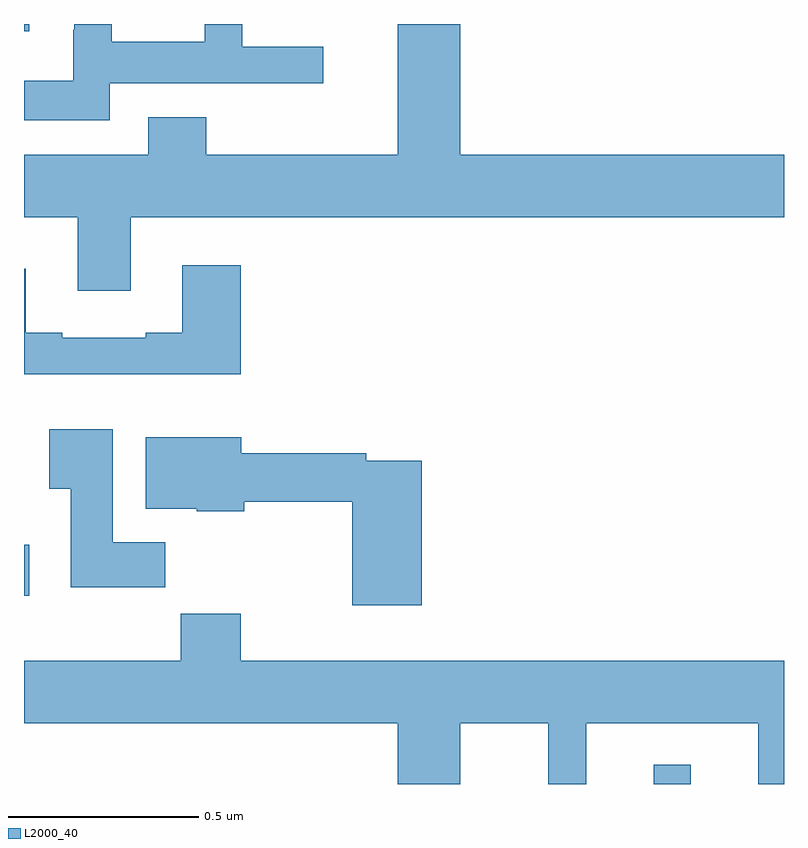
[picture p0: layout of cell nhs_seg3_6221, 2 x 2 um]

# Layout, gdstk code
import gdstk
lib = gdstk.Library(unit=1e-6, precision=1e-09)
def R(c, l, rs):  # rectangles x0, y0, x1, y1
    for r in rs: c.add(gdstk.rectangle(r[:2], r[2:], *l))
def P(c, l, *ps):  # polygons
    for p in ps: c.add(gdstk.Polygon(p, *l))
L2000_40 = (2000, 40)

nhs_seg3_6221 = lib.new_cell('nhs_seg3_6221')
R(nhs_seg3_6221, L2000_40, [(189.657,723.4,189.754,723.451), (188,723.896,188.014,724.03), (188,725.381,188.014,725.4)])
P(nhs_seg3_6221, L2000_40, [(188.281,724.892),(190,724.892),(190,725.056),(189.148,725.056),(189.148,725.4),(188.984,725.4),(188.984,725.056),(188.48,725.056),(188.48,725.155),(188.327,725.155),(188.327,725.056),(188,725.056),(188,724.892),(188.141,724.892),(188.141,724.698),(188.281,724.698)],
  [(188.226,725.244),(188.788,725.244),(188.788,725.34),(188.574,725.34),(188.574,725.4),(188.476,725.4),(188.476,725.353),(188.231,725.353),(188.231,725.4),(188.132,725.4),(188.132,725.385),(188.13,725.385),(188.13,725.251),(188,725.251),(188,725.147),(188.226,725.147)],
  [(188.57,724.765),(188.417,724.765),(188.417,724.588),(188.321,724.588),(188.321,724.575),(188.101,724.575),(188.101,724.588),(188.005,724.588),(188.005,724.756),(188,724.756),(188,724.478),(188.57,724.478)],
  [(188.372,724.036),(188.233,724.036),(188.233,724.333),(188.066,724.333),(188.066,724.177),(188.123,724.177),(188.123,723.918),(188.372,723.918)],
  [(189.047,724.251),(188.9,724.251),(188.9,724.271),(188.572,724.271),(188.572,724.312),(188.321,724.312),(188.321,724.124),(188.454,724.124),(188.454,724.118),(188.58,724.118),(188.58,724.143),(188.864,724.143),(188.864,723.87),(189.047,723.87)],
  [(189.148,723.56),(189.379,723.56),(189.379,723.4),(189.479,723.4),(189.479,723.56),(189.932,723.56),(189.932,723.4),(190,723.4),(190,723.724),(188.57,723.724),(188.57,723.848),(188.413,723.848),(188.413,723.724),(188,723.724),(188,723.56),(188.984,723.56),(188.984,723.4),(189.148,723.4)])

lib.write_gds('nhs_seg3_6221.gds')
